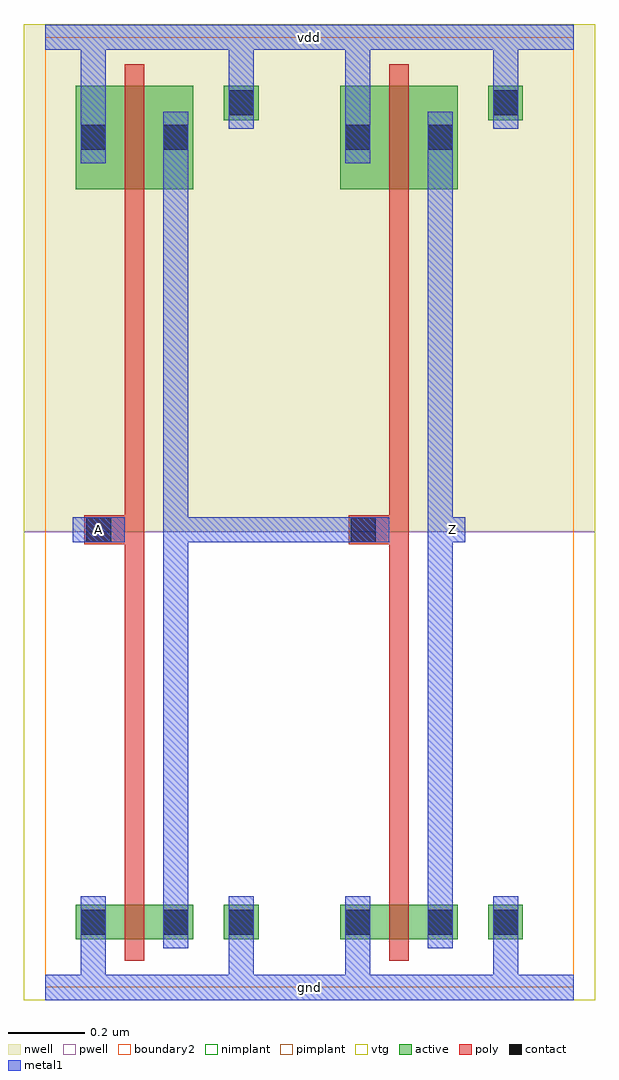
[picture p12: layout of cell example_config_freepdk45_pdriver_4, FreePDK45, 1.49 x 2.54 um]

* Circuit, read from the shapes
.subckt example_config_freepdk45_pdriver_4 A Z gnd vdd
M1 example_config_freepdk45_pinv_5_1/A A gnd gnd nfet w=0.09u l=0.05u
M2 Z example_config_freepdk45_pinv_5_1/A gnd gnd nfet w=0.09u l=0.05u
M3 example_config_freepdk45_pinv_5_1/A A vdd vdd pfet w=0.27u l=0.05u
M4 Z example_config_freepdk45_pinv_5_1/A vdd vdd pfet w=0.27u l=0.05u
.ends

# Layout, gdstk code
import gdstk
lib = gdstk.Library(unit=1e-6, precision=5e-10)
def R(c, l, rs):  # rectangles x0, y0, x1, y1
    for r in rs: c.add(gdstk.rectangle(r[:2], r[2:], *l))
active = (1, 0)
pwell = (2, 0)
nwell = (3, 0)
nimplant = (4, 0)
pimplant = (5, 0)
vtg = (6, 0)
poly = (9, 0)
contact = (10, 0)
metal1 = (11, 0)
boundary2 = (239, 0)

example_config_freepdk45 = lib.new_cell('example_config_freepdk45_contact_11')
R(example_config_freepdk45, active, [(0,0.0225,0.09,0.1125)])
R(example_config_freepdk45, nwell, [(-0.055,-0.0325,0.145,0.1675)])
R(example_config_freepdk45, pimplant, [(0,0.0225,0.09,0.1125)])
R(example_config_freepdk45, contact, [(0.0125,0.035,0.0775,0.1)])
R(example_config_freepdk45, metal1, [(0.0125,0,0.0775,0.135)])
R(example_config_freepdk45, boundary2, [(-0.055,-0.0325,0.145,0.1675)])

c_example_config_freepdk45 = lib.new_cell('example_config_freepdk45_pmos_m1_w0_270_sm1_dm1_da_p')
R(c_example_config_freepdk45, active, [(0,0,0.305,0.27)])
R(c_example_config_freepdk45, nwell, [(-0.08,-0.08,0.385,0.35)])
R(c_example_config_freepdk45, pimplant, [(0,0,0.305,0.27)])
R(c_example_config_freepdk45, vtg, [(-0.08,-0.08,0.385,0.35)])
R(c_example_config_freepdk45, poly, [(0.1275,-0.055,0.1775,0.325), (0.1275,-0.055,0.1775,0.325)])
R(c_example_config_freepdk45, metal1, [(0.0125,0.0675,0.0775,0.2025), (0.2275,0.0675,0.2925,0.2025)])
R(c_example_config_freepdk45, boundary2, [(-0.08,-0.08,0.385,0.35)])
c_example_config_freepdk45.add(gdstk.Reference(example_config_freepdk45, (0,0.0675)))
c_example_config_freepdk45.add(gdstk.Reference(example_config_freepdk45, (0.215,0.0675)))
c_example_config_freepdk45.add(gdstk.Label('G', (0.1525,0.135), layer=9, texttype=0))
c_example_config_freepdk45.add(gdstk.Label('S', (0.045,0.135), layer=11, texttype=0))
c_example_config_freepdk45.add(gdstk.Label('D', (0.26,0.135), layer=11, texttype=0))

c_example_config_freepdk45_ = lib.new_cell('example_config_freepdk45_contact_10')
R(c_example_config_freepdk45_, active, [(0,0.0225,0.09,0.1125)])
R(c_example_config_freepdk45_, pwell, [(-0.055,-0.0325,0.145,0.1675)])
R(c_example_config_freepdk45_, nimplant, [(0,0.0225,0.09,0.1125)])
R(c_example_config_freepdk45_, contact, [(0.0125,0.035,0.0775,0.1)])
R(c_example_config_freepdk45_, metal1, [(0.0125,0,0.0775,0.135)])
R(c_example_config_freepdk45_, boundary2, [(-0.055,-0.0325,0.145,0.1675)])

c_example_config_freepdk45__ = lib.new_cell('example_config_freepdk45_nmos_m1_w0_090_sm1_dm1_da_p')
R(c_example_config_freepdk45__, active, [(0,0,0.305,0.09)])
R(c_example_config_freepdk45__, pwell, [(-0.08,-0.08,0.385,0.17)])
R(c_example_config_freepdk45__, nimplant, [(0,0,0.305,0.09)])
R(c_example_config_freepdk45__, vtg, [(-0.08,-0.08,0.385,0.17)])
R(c_example_config_freepdk45__, poly, [(0.1275,-0.055,0.1775,0.145), (0.1275,-0.055,0.1775,0.145)])
R(c_example_config_freepdk45__, metal1, [(0.0125,-0.0225,0.0775,0.1125), (0.2275,-0.0225,0.2925,0.1125)])
R(c_example_config_freepdk45__, boundary2, [(-0.08,-0.08,0.385,0.17)])
c_example_config_freepdk45__.add(gdstk.Reference(c_example_config_freepdk45_, (0,-0.0225)))
c_example_config_freepdk45__.add(gdstk.Reference(c_example_config_freepdk45_, (0.215,-0.0225)))
c_example_config_freepdk45__.add(gdstk.Label('G', (0.1525,0.045), layer=9, texttype=0))
c_example_config_freepdk45__.add(gdstk.Label('S', (0.045,0.045), layer=11, texttype=0))
c_example_config_freepdk45__.add(gdstk.Label('D', (0.26,0.045), layer=11, texttype=0))

c_example_config_freepdk45___ = lib.new_cell('example_config_freepdk45_contact_12')
R(c_example_config_freepdk45___, active, [(0,0.0225,0.09,0.1125)])
R(c_example_config_freepdk45___, nwell, [(-0.055,-0.0325,0.145,0.1675)])
R(c_example_config_freepdk45___, nimplant, [(0,0.0225,0.09,0.1125)])
R(c_example_config_freepdk45___, contact, [(0.0125,0.035,0.0775,0.1)])
R(c_example_config_freepdk45___, metal1, [(0.0125,0,0.0775,0.135)])
R(c_example_config_freepdk45___, boundary2, [(-0.055,-0.0325,0.145,0.1675)])

c_example_config_freepdk45____ = lib.new_cell('example_config_freepdk45_contact_13')
R(c_example_config_freepdk45____, active, [(0,0.0225,0.09,0.1125)])
R(c_example_config_freepdk45____, pwell, [(-0.055,-0.0325,0.145,0.1675)])
R(c_example_config_freepdk45____, pimplant, [(0,0.0225,0.09,0.1125)])
R(c_example_config_freepdk45____, contact, [(0.0125,0.035,0.0775,0.1)])
R(c_example_config_freepdk45____, metal1, [(0.0125,0,0.0775,0.135)])
R(c_example_config_freepdk45____, boundary2, [(-0.055,-0.0325,0.145,0.1675)])

c_example_config_freepdk45_____ = lib.new_cell('example_config_freepdk45_contact_14')
R(c_example_config_freepdk45_____, poly, [(0.03,0,0.105,0.075)])
R(c_example_config_freepdk45_____, contact, [(0.035,0.005,0.1,0.07)])
R(c_example_config_freepdk45_____, metal1, [(0,0.005,0.135,0.07)])
R(c_example_config_freepdk45_____, boundary2, [(0,0,0.135,0.075)])

c_example_config_freepdk45______ = lib.new_cell('example_config_freepdk45_pinv_5')
R(c_example_config_freepdk45______, pwell, [(-0.055,-0.0325,0.7425,1.185)])
R(c_example_config_freepdk45______, nwell, [(-0.055,1.185,0.7425,2.505)])
R(c_example_config_freepdk45______, vtg, [(-0.055,-0.0325,0.7425,1.185), (-0.055,1.185,0.7425,2.505)])
R(c_example_config_freepdk45______, poly, [(0.2075,0.27,0.2575,2.02), (0.14,1.1525,0.2075,1.2275)])
R(c_example_config_freepdk45______, metal1, [(0,-0.0325,0.6875,0.0325), (0.0925,-0.0325,0.1575,0.1025), (0.4775,0,0.5425,0.17), (0.3075,0.1025,0.3725,2.2775), (0.0725,1.1575,0.2075,1.2225), (0.34,1.1575,0.405,1.2225), (0.0925,2.1425,0.1575,2.5025), (0.4775,2.3,0.5425,2.47), (0,2.4375,0.6875,2.5025)])
R(c_example_config_freepdk45______, boundary2, [(0,0,0.6875,2.47), (0,0,0.6875,2.47)])
c_example_config_freepdk45______.add(gdstk.Reference(c_example_config_freepdk45, (0.08,2.075)))
c_example_config_freepdk45______.add(gdstk.Reference(c_example_config_freepdk45__, (0.08,0.125)))
c_example_config_freepdk45______.add(gdstk.Reference(c_example_config_freepdk45___, (0.465,2.2325)))
c_example_config_freepdk45______.add(gdstk.Reference(c_example_config_freepdk45____, (0.465,0.1025)))
c_example_config_freepdk45______.add(gdstk.Reference(c_example_config_freepdk45_____, (0.0725,1.1525)))
c_example_config_freepdk45______.add(gdstk.Label('A', (0.14,1.19), layer=11, texttype=0))
c_example_config_freepdk45______.add(gdstk.Label('Z', (0.3725,1.19), layer=11, texttype=0))
c_example_config_freepdk45______.add(gdstk.Label('gnd', (0.344,0), layer=11, texttype=0))
c_example_config_freepdk45______.add(gdstk.Label('vdd', (0.344,2.47), layer=11, texttype=0))

c_example_config_freepdk45_______ = lib.new_cell('example_config_freepdk45_pdriver_4')
R(c_example_config_freepdk45_______, pwell, [(-0.055,-0.0325,1.43,1.185)])
R(c_example_config_freepdk45_______, nwell, [(-0.055,1.185,1.43,2.505)])
R(c_example_config_freepdk45_______, vtg, [(-0.055,-0.0325,1.43,1.185), (-0.055,1.185,1.43,2.505)])
R(c_example_config_freepdk45_______, metal1, [(0,-0.0325,1.375,0.0325), (0.0725,1.1575,0.2075,1.2225), (0.3725,1.1575,0.8275,1.2225), (1.0275,1.1575,1.0925,1.2225), (0,2.4375,1.375,2.5025)])
R(c_example_config_freepdk45_______, boundary2, [(0,0,1.375,2.47), (0,0,1.375,2.47)])
c_example_config_freepdk45_______.add(gdstk.Reference(c_example_config_freepdk45______, (0,0)))
c_example_config_freepdk45_______.add(gdstk.Reference(c_example_config_freepdk45______, (0.6875,0)))
c_example_config_freepdk45_______.add(gdstk.Label('Z', (1.06,1.19), layer=11, texttype=0))
c_example_config_freepdk45_______.add(gdstk.Label('A', (0.14,1.19), layer=11, texttype=0))
c_example_config_freepdk45_______.add(gdstk.Label('gnd', (0.6875,0), layer=11, texttype=0))
c_example_config_freepdk45_______.add(gdstk.Label('vdd', (0.6875,2.47), layer=11, texttype=0))

lib.write_gds('example_config_freepdk45_pdriver_4.gds')
